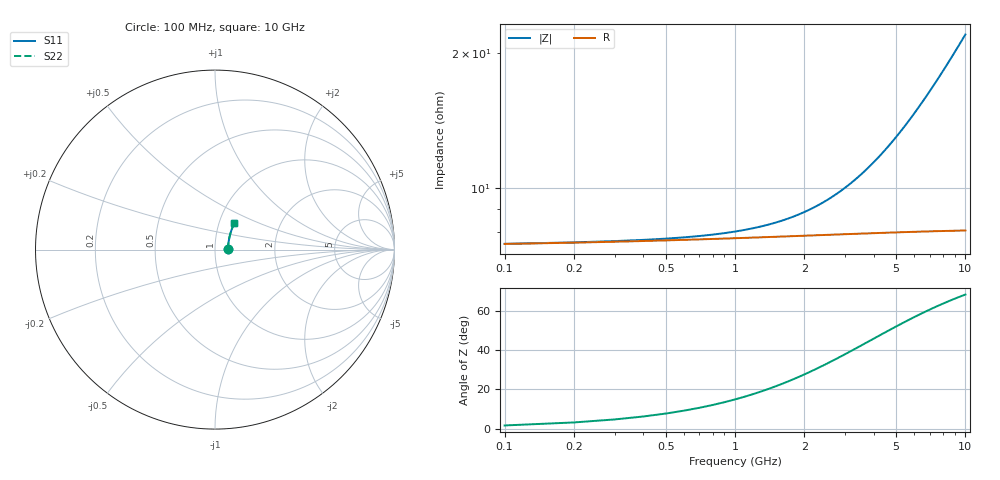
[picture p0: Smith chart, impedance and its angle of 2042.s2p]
# Hz S RI R 50.00
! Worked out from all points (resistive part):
!   100 points, 100 MHz to 10 GHz, reference 50 ohm
!   read as one part in series: R = 7.52 ohm at 100 MHz
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1e8  0.0699 0.00154  0.9301 -0.00202  0.9301 -0.00202  0.0699 0.00154
2e8  0.0704 0.00308  0.9296 -0.00403  0.9296 -0.00403  0.0704 0.00308
8e8  0.0718 0.0123  0.9281 -0.0161  0.9281 -0.0161  0.0718 0.0123
1.1e9  0.0724 0.0169  0.9276 -0.0221  0.9276 -0.0221  0.0724 0.0169
1.4e9  0.0729 0.0215  0.927 -0.0281  0.927 -0.0281  0.0729 0.0215
1.6e9  0.0733 0.0245  0.9266 -0.0321  0.9266 -0.0321  0.0733 0.0245
1.8e9  0.0737 0.0275  0.9263 -0.0361  0.9263 -0.0361  0.0737 0.0275
2.1e9  0.0743 0.0321  0.9257 -0.042  0.9257 -0.042  0.0743 0.0321
2.5e9  0.0751 0.0382  0.9248 -0.05  0.9248 -0.05  0.0751 0.0382
2.9e9  0.076 0.0442  0.9238 -0.0579  0.9238 -0.0579  0.076 0.0442
3.4e9  0.0773 0.0518  0.9226 -0.0678  0.9226 -0.0678  0.0773 0.0518
5.1e9  0.0826 0.0771  0.9171 -0.1012  0.9171 -0.1012  0.0826 0.0771
5.9e9  0.0857 0.0888  0.9139 -0.1167  0.9139 -0.1167  0.0857 0.0888
6.3e9  0.0873 0.0946  0.9122 -0.1244  0.9122 -0.1244  0.0873 0.0946
6.7e9  0.0891 0.1004  0.9104 -0.1321  0.9104 -0.1321  0.0891 0.1004
7.1e9  0.0909 0.1061  0.9085 -0.1397  0.9085 -0.1397  0.0909 0.1061
7.5e9  0.0929 0.1118  0.9064 -0.1473  0.9064 -0.1473  0.0929 0.1118
7.9e9  0.0949 0.1175  0.9043 -0.1549  0.9043 -0.1549  0.0949 0.1175
8.4e9  0.0976 0.1245  0.9016 -0.1643  0.9016 -0.1643  0.0976 0.1245
8.8e9  0.0998 0.13  0.8992 -0.1717  0.8992 -0.1717  0.0998 0.13
9.2e9  0.1021 0.1355  0.8968 -0.1791  0.8968 -0.1791  0.1021 0.1355
1e10  0.107 0.1464  0.8918 -0.1938  0.8918 -0.1938  0.107 0.1464
